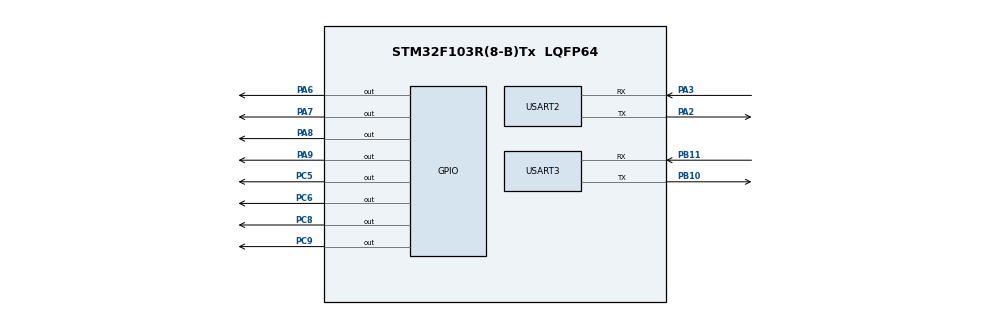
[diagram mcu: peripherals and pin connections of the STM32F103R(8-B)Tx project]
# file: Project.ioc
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FREERTOS.Queues01=CLI_Queue,16,uint16_t,0,Dynamic,NULL,NULL;Status_Queue,16,uint16_t,0,Dynamic,NULL,NULL;ATM_QUEUE_1,16,uint16_t,0,Dynamic,NULL,NULL;ATM_QUEUE_2,16,uint16_t,0,Dynamic,NULL,NULL
FREERTOS.Tasks01=defaultTask,24,128,Status_CLI_Task,Default,NULL,Dynamic,NULL,NULL;myTask02,25,128,RX_CLI_Task,Default,NULL,Dynamic,NULL,NULL;myTask03,21,128,stateControllerTask,Default,NULL,Dynamic,NULL,NULL
Mcu.Family=STM32F1
Mcu.Name=STM32F103R(8-B)Tx
Mcu.Package=LQFP64
NVIC.PriorityGroup=NVIC_PRIORITYGROUP_4
NVIC.TIM4_IRQn=true\:0\:0\:false\:false\:true\:false\:false\:true
NVIC.TimeBase=TIM4_IRQn
NVIC.TimeBaseIP=TIM4
PA13.Mode=Serial_Wire
PA13.Signal=SYS_JTMS-SWDIO
PA14.Mode=Serial_Wire
PA14.Signal=SYS_JTCK-SWCLK
PA2.Mode=Asynchronous
PA2.Signal=USART2_TX
PA3.Mode=Asynchronous
PA3.Signal=USART2_RX
PA6.Signal=GPIO_Output
PA7.Signal=GPIO_Output
PA8.Signal=GPIO_Output
PA9.Signal=GPIO_Output
PB10.Mode=Asynchronous
PB10.Signal=USART3_TX
PB11.Mode=Asynchronous
PB11.Signal=USART3_RX
PC14-OSC32_IN.Mode=LSE-External-Oscillator
PC14-OSC32_IN.Signal=RCC_OSC32_IN
PC15-OSC32_OUT.Mode=LSE-External-Oscillator
PC15-OSC32_OUT.Signal=RCC_OSC32_OUT
PC5.Signal=GPIO_Output
PC6.Signal=GPIO_Output
PC8.Signal=GPIO_Output
PC9.Signal=GPIO_Output
PD0-OSC_IN.Mode=HSE-External-Clock-Source
PD0-OSC_IN.Signal=RCC_OSC_IN
PD1-OSC_OUT.Mode=HSE-External-Clock-Source
PD1-OSC_OUT.Signal=RCC_OSC_OUT
ProjectManager.HeapSize=0x200
ProjectManager.StackSize=0x400
ProjectManager.TargetToolchain=STM32CubeIDE
RCC.APB1Freq_Value=8000000
RCC.APB2Freq_Value=8000000
USART2.VirtualMode=VM_ASYNC
USART3.VirtualMode=VM_ASYNC
VP_FREERTOS_VS_CMSIS_V2.Mode=CMSIS_V2
VP_SYS_VS_tim4.Mode=TIM4
board=custom

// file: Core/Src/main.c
/* USER CODE BEGIN Header */
/**
  ******************************************************************************
  * @file           : main.c
  * @brief          : Main program body
  ******************************************************************************
  * @attention
  *
  * <h2><center>&copy; Copyright (c) 2020 STMicroelectronics.
  * All rights reserved.</center></h2>
  *
  * This software component is licensed by ST under BSD 3-Clause license,
  * the "License"; You may not use this file except in compliance with the
  * License. You may obtain a copy of the License at:
  *                        opensource.org/licenses/BSD-3-Clause
  *
  ******************************************************************************
  */
/* USER CODE END Header */
#include "main.h"
#include "cmsis_os.h"

/* USER CODE BEGIN Includes */
#include "../../Mycode/CLI/CLI.h"
#include <stdio.h>
#include <stdlib.h>
#include <string.h>
#include "stdbool.h"
/* USER CODE END Includes */

UART_HandleTypeDef huart2;
UART_HandleTypeDef huart3;

/* Definitions for defaultTask */
osThreadId_t defaultTaskHandle;
const osThreadAttr_t defaultTask_attributes = {
  .name = "defaultTask",
  .priority = (osPriority_t) osPriorityNormal,
  .stack_size = 128 * 4
};
/* Definitions for myTask02 */
osThreadId_t myTask02Handle;
const osThreadAttr_t myTask02_attributes = {
  .name = "myTask02",
  .priority = (osPriority_t) osPriorityNormal1,
  .stack_size = 128 * 4
};
/* Definitions for myTask03 */
osThreadId_t myTask03Handle;
const osThreadAttr_t myTask03_attributes = {
  .name = "myTask03",
  .priority = (osPriority_t) osPriorityBelowNormal5,
  .stack_size = 128 * 4
};
/* Definitions for CLI_Queue */
osMessageQueueId_t CLI_QueueHandle;
const osMessageQueueAttr_t CLI_Queue_attributes = {
  .name = "CLI_Queue"
};
/* Definitions for Status_Queue */
osMessageQueueId_t Status_QueueHandle;
const osMessageQueueAttr_t Status_Queue_attributes = {
  .name = "Status_Queue"
};

void SystemClock_Config(void);
static void MX_GPIO_Init(void);
static void MX_USART2_UART_Init(void);
static void MX_USART3_UART_Init(void);
void Status_CLI_Task(void *argument);
void RX_CLI_Task(void *argument);
void stateControllerTask(void *argument);

int main(void)
{

  /* MCU Configuration--------------------------------------------------------*/

  /* Reset of all peripherals, Initializes the Flash interface and the Systick. */
  HAL_Init();

  /* Configure the system clock */
  SystemClock_Config();

  /* Initialize all configured peripherals */
  MX_GPIO_Init();
  MX_USART2_UART_Init();
  MX_USART3_UART_Init();
  /* USER CODE BEGIN 2 */
  clean_screen;
  transmit;
  cursor0_0
  transmit;
  scroll_window
  transmit;
  cursor10_0
  transmit;
  strcpy((char*)cliBufferTX, "Welcome!\r\n");
  transmit;
  /* USER CODE END 2 */

  /* Init scheduler */
  osKernelInitialize();

  /* Create the queue(s) */
  /* creation of CLI_Queue */
  CLI_QueueHandle = osMessageQueueNew (16, sizeof(uint16_t), &CLI_Queue_attributes);

  /* creation of Status_Queue */
  Status_QueueHandle = osMessageQueueNew (16, sizeof(uint16_t), &Status_Queue_attributes);

  /* Create the thread(s) */
  /* creation of defaultTask */
  defaultTaskHandle = osThreadNew(Status_CLI_Task, NULL, &defaultTask_attributes);

  /* creation of myTask02 */
  myTask02Handle = osThreadNew(RX_CLI_Task, NULL, &myTask02_attributes);

  /* creation of myTask03 */
  myTask03Handle = osThreadNew(stateControllerTask, NULL, &myTask03_attributes);

  /* Start scheduler */
  osKernelStart();

  /* We should never get here as control is now taken by the scheduler */
  /* Infinite loop */
  while (1)
  {

  }
}

void SystemClock_Config(void)
{
  RCC_OscInitTypeDef RCC_OscInitStruct = {0};
  RCC_ClkInitTypeDef RCC_ClkInitStruct = {0};

  /** Initializes the RCC Oscillators according to the specified parameters
  * in the RCC_OscInitTypeDef structure.
  */
  RCC_OscInitStruct.OscillatorType = RCC_OSCILLATORTYPE_HSI;
  RCC_OscInitStruct.HSIState = RCC_HSI_ON;
  RCC_OscInitStruct.HSICalibrationValue = RCC_HSICALIBRATION_DEFAULT;
  RCC_OscInitStruct.PLL.PLLState = RCC_PLL_NONE;
  if (HAL_RCC_OscConfig(&RCC_OscInitStruct) != HAL_OK)
  {
    Error_Handler();
  }
  /** Initializes the CPU, AHB and APB buses clocks
  */
  RCC_ClkInitStruct.ClockType = RCC_CLOCKTYPE_HCLK|RCC_CLOCKTYPE_SYSCLK
                              |RCC_CLOCKTYPE_PCLK1|RCC_CLOCKTYPE_PCLK2;
  RCC_ClkInitStruct.SYSCLKSource = RCC_SYSCLKSOURCE_HSI;
  RCC_ClkInitStruct.AHBCLKDivider = RCC_SYSCLK_DIV1;
  RCC_ClkInitStruct.APB1CLKDivider = RCC_HCLK_DIV1;
  RCC_ClkInitStruct.APB2CLKDivider = RCC_HCLK_DIV1;

  if (HAL_RCC_ClockConfig(&RCC_ClkInitStruct, FLASH_LATENCY_0) != HAL_OK)
  {
    Error_Handler();
  }
}

static void MX_USART2_UART_Init(void)
{

  huart2.Instance = USART2;
  huart2.Init.BaudRate = 115200;
  huart2.Init.WordLength = UART_WORDLENGTH_8B;
  huart2.Init.StopBits = UART_STOPBITS_1;
  huart2.Init.Parity = UART_PARITY_NONE;
  huart2.Init.Mode = UART_MODE_TX_RX;
  huart2.Init.HwFlowCtl = UART_HWCONTROL_NONE;
  huart2.Init.OverSampling = UART_OVERSAMPLING_16;
  if (HAL_UART_Init(&huart2) != HAL_OK)
  {
    Error_Handler();
  }

}

static void MX_USART3_UART_Init(void)
{

  huart3.Instance = USART3;
  huart3.Init.BaudRate = 115200;
  huart3.Init.WordLength = UART_WORDLENGTH_8B;
  huart3.Init.StopBits = UART_STOPBITS_1;
  huart3.Init.Parity = UART_PARITY_NONE;
  huart3.Init.Mode = UART_MODE_TX_RX;
  huart3.Init.HwFlowCtl = UART_HWCONTROL_NONE;
  huart3.Init.OverSampling = UART_OVERSAMPLING_16;
  if (HAL_UART_Init(&huart3) != HAL_OK)
  {
    Error_Handler();
  }

}

static void MX_GPIO_Init(void)
{
  GPIO_InitTypeDef GPIO_InitStruct = {0};

  /* GPIO Ports Clock Enable */
  __HAL_RCC_GPIOC_CLK_ENABLE();
  __HAL_RCC_GPIOD_CLK_ENABLE();
  __HAL_RCC_GPIOA_CLK_ENABLE();
  __HAL_RCC_GPIOB_CLK_ENABLE();

  /*Configure GPIO pin Output Level */
  HAL_GPIO_WritePin(GPIOA, GPIO_PIN_6|GPIO_PIN_7|GPIO_PIN_8|GPIO_PIN_9, GPIO_PIN_RESET);

  /*Configure GPIO pin Output Level */
  HAL_GPIO_WritePin(GPIOC, GPIO_PIN_5|GPIO_PIN_6|GPIO_PIN_8|GPIO_PIN_9, GPIO_PIN_RESET);

  /*Configure GPIO pins : PA6 PA7 PA8 PA9 */
  GPIO_InitStruct.Pin = GPIO_PIN_6|GPIO_PIN_7|GPIO_PIN_8|GPIO_PIN_9;
  GPIO_InitStruct.Mode = GPIO_MODE_OUTPUT_PP;
  GPIO_InitStruct.Pull = GPIO_NOPULL;
  GPIO_InitStruct.Speed = GPIO_SPEED_FREQ_LOW;
  HAL_GPIO_Init(GPIOA, &GPIO_InitStruct);

  /*Configure GPIO pins : PC5 PC6 PC8 PC9 */
  GPIO_InitStruct.Pin = GPIO_PIN_5|GPIO_PIN_6|GPIO_PIN_8|GPIO_PIN_9;
  GPIO_InitStruct.Mode = GPIO_MODE_OUTPUT_PP;
  GPIO_InitStruct.Pull = GPIO_NOPULL;
  GPIO_InitStruct.Speed = GPIO_SPEED_FREQ_LOW;
  HAL_GPIO_Init(GPIOC, &GPIO_InitStruct);

}

/* USER CODE BEGIN 4 */

void printStringBlocking(const char* message)
{
    int i = 0;
    HAL_StatusTypeDef	st;

    //Have to wait for the last transmission to go.
    while (huart2.gState == HAL_UART_STATE_BUSY_TX) {}

    for (const char* p = message; *p; ++p) {
        cliBufferTX[i] = *p;
        i++;
    }
    st = HAL_UART_Transmit(&huart2, cliBufferTX, i, 1000);
    if (st != HAL_OK)
    {
        Error_Handler();
    }

}
/* USER CODE END 4 */

// It is the status cli task, it receive the current running mode and atm value, then shows it on the screen
void Status_CLI_Task(void *argument)
{
  /* USER CODE BEGIN 5 */
	 uint16_t statusMessage;	//take the message from queue
	 uint16_t message = 102;	//status message, 102 is mean the begin mode is FSM
	 osStatus_t status;			// check if queue get is OK
	 uint16_t x = 1;			//transfer the atm value
	 int atm_value;				// change uint16_x to int, and I will change the int to string
	 uint8_t period[3];			// save the atm_value transfered string, and it will be show on the putty.
  /* Infinite loop */
  for(;;)
  {
	  {
		  status = osMessageQueueGet(Status_QueueHandle, &statusMessage, NULL, 0U);
		        if (status == osOK)
		        {
		         if(statusMessage == 101 || statusMessage == 102)//if received message is for status change
		         {
		        	message = statusMessage;	// transfer data from queue to message
		        	 if (message == 101)		// scm mode renew
		        			        {
		        		 	 	 	 atm_value = x;
		        		 	 	 	 itoa(atm_value,period,10);
		        		 	 	 	save_cursor;
		        		 	 	 	transmit;
		        			  		  cursor0_0;
		        			  		  transmit;
		        			  		clean_line;
		        			  		  transmit;
		        			  		  strcpy(( char*)cliBufferTX, "scm mode. ");
		        			    	  HAL_UART_Transmit(&huart2, cliBufferTX, strlen((char*)cliBufferTX),1000);
		        			    	  HAL_UART_Transmit(&huart2, period, strlen((char*)period),1000);
		        			  		  strcpy(( char*)cliBufferTX, " is the atm value");
		        			    	  HAL_UART_Transmit(&huart2, cliBufferTX, strlen((char*)cliBufferTX),1000);
		        			    	  go_to_saved_cursor_point;
		        			    	  transmit;

		        			        }
		        	 else if (message == 102)// fsm mode renew
		        			       		  {
    		 	 	 	 	 	 	 	 atm_value = x;
    		 	 	 	 	 	 	 	 itoa(atm_value,period,10);
		        		 	 	 	 	save_cursor;
		        		 	 	 	 	transmit;
		        				  		  cursor0_0;
		        				  		  transmit;
		        				  		clean_line;
		        				  		  transmit;
		        				  		  strcpy(( char*)cliBufferTX, "fsm mode. ");
		        				    	  HAL_UART_Transmit(&huart2, cliBufferTX, strlen((char*)cliBufferTX),1000);
			        			    	  HAL_UART_Transmit(&huart2, period, strlen((char*)period),1000);
			        			  		  strcpy(( char*)cliBufferTX, " is the atm value");
			        			    	  HAL_UART_Transmit(&huart2, cliBufferTX, strlen((char*)cliBufferTX),1000);
			        			    	  go_to_saved_cursor_point;
		        				    	  transmit;
		        			       		  }
		         }
		         else	// if the received message is for atm X change
		         {
		        	 x = statusMessage;
		        	 if (message == 101)	// current scm mode
		        			        {
		        		 	 	 	 atm_value = x;
		        		 	 	 	 itoa(atm_value,period,10);
		        		 	 	 	save_cursor;
		        		 	 	 	transmit;
		        			  		  cursor0_0;
		        			  		  transmit;
		        			  		clean_line;
		        			  		  transmit;
		        			  		  strcpy(( char*)cliBufferTX, "scm mode. ");
		        			    	  HAL_UART_Transmit(&huart2, cliBufferTX, strlen((char*)cliBufferTX),1000);
		        			    	  HAL_UART_Transmit(&huart2, period, strlen((char*)period),1000);
		        			  		  strcpy(( char*)cliBufferTX, " is the atm value");
		        			    	  HAL_UART_Transmit(&huart2, cliBufferTX, strlen((char*)cliBufferTX),1000);
		        			    	  go_to_saved_cursor_point;
		        			    	  transmit;

		        			        }
		        	 else if (message == 102)//current fsm mode
		        			       		  {
    		 	 	 	 	 	 	 	 atm_value = x;
    		 	 	 	 	 	 	 	 itoa(atm_value,period,10);
		        		 	 	 	 	save_cursor;
		        		 	 	 	 	transmit;
		        				  		  cursor0_0;
		        				  		  transmit;
		        				  		clean_line;
		        				  		  transmit;
		        				  		  strcpy(( char*)cliBufferTX, "fsm mode. ");
		        				    	  HAL_UART_Transmit(&huart2, cliBufferTX, strlen((char*)cliBufferTX),1000);
			        			    	  HAL_UART_Transmit(&huart2, period, strlen((char*)period),1000);
			        			  		  strcpy(( char*)cliBufferTX, " is the atm value");
			        			    	  HAL_UART_Transmit(&huart2, cliBufferTX, strlen((char*)cliBufferTX),1000);
			        			    	  go_to_saved_cursor_point;
		        				    	  transmit;
		        			       		  }
		         }
		        }

	  }
    osDelay(100);
  }
  /* USER CODE END 5 */
}

void RX_CLI_Task(void *argument) // receive message from host, and send message to control part
{
  /* USER CODE BEGIN RX_CLI_Task */
	uint16_t cliMessage;
	int8_t i=0;				//the local position for cliBuffer
	uint8_t *p;
	uint8_t cliBufferTX[200];
	 uint16_t x = 1;
  /* Infinite loop */
  for(;;)
  {
	  if((HAL_UART_Receive(&huart2,cliBufferRX, 1,300) == HAL_OK))
	  {
		  cliBufferTX[i] = cliBufferRX[0];
		  if( cliBufferTX[i]=='\r')	//	if enter
		 		  {
		 			cliBufferTX[i]='\0';
		 			cliBufferRX[0]='\r';
		 			cliBufferRX[1]='\n';
		 			HAL_UART_Transmit(&huart2,cliBufferRX,2,1000);
					if(strcmp(cliBufferTX,"help")==0)	//execute help command
					  {
						  cursor0_0;
						  transmit;
						  clean_screen;
						  transmit;
				  	  	  strcpy(( char*)cliBufferTX, "enter scm,fsm,or atm x");
				  	  	  HAL_UART_Transmit(&huart2, cliBufferTX, strlen((char*)cliBufferTX),1000);
				  	  	  cursor10_0;
				  	  	  transmit;
					  }
					else if(strcmp(cliBufferTX,"scm")==0 || strcmp(cliBufferTX,"SCM")==0)//execute scm command
					  {
						cliMessage = 101;
						 if (osMessageQueuePut(CLI_QueueHandle, &cliMessage, 1U, 0U) != osOK)
								 		                {
								 		                    Error_Handler();
								 		                }
					  }
					else if(strcmp(cliBufferTX,"fsm")==0 || strcmp(cliBufferTX,"FSM")==0)//execute fsm command
					  {
						cliMessage = 102;
						 if (osMessageQueuePut(CLI_QueueHandle, &cliMessage, 1U, 0U) != osOK)
								 		                {
								 		                    Error_Handler();
								 		                }
					  }
					else if((cliBufferTX[0]=='a' && cliBufferTX[1] == 't' && cliBufferTX[2] == 'm' && cliBufferTX[3] == ' ') || (cliBufferTX[0]=='A' && cliBufferTX[1] == 'T' && cliBufferTX[2] == 'M' && cliBufferTX[3] == ' '))
					  {//execute ATM x command
						cliMessage = 3;
						uint8_t num[3];
						num[0] = cliBufferTX[4];
						num[1] = cliBufferTX[5];
						num[2] = cliBufferTX[6];

						x = atoi(num);
						if ((x >= 1) && (x <= 100))//make sure x is from 1 to 100
						{
							cliMessage = x;
				 			if (osMessageQueuePut(CLI_QueueHandle, &cliMessage, 1U, 0U) != osOK)
				 											 		                {
				 											 		                    Error_Handler();
				 											 		                }
						}
						else {
							invalid_command;               //execute invalid command (for wrong number x)
							HAL_UART_Transmit(&huart2, cliBufferRX, strlen((char*)cliBufferRX),1000);	//transfer invalid message
							transmit;
				 			cliBufferTX[i]='\0';
				 			cliBufferRX[0]='\r';
				 			cliBufferRX[1]='\n';
				 			HAL_UART_Transmit(&huart2,cliBufferRX,2,1000);
							}
					  }

					else
											{
											invalid_command;//execute invalid command
											HAL_UART_Transmit(&huart2, cliBufferRX, strlen((char*)cliBufferRX),1000);//transfer invalid message
											transmit;
								 			cliBufferTX[i]='\0';
								 			cliBufferRX[0]='\r';
								 			cliBufferRX[1]='\n';
								 			HAL_UART_Transmit(&huart2,cliBufferRX,2,1000);
											}
		 		    i=0;
		 		  }
		  else if( cliBufferTX[i]=='\177') // if back
		  			{
		  			  p=&cliBufferTX[i];
		  			  HAL_UART_Transmit(&huart2,p,1,1000);
		  			  i--;
		  			  if(i<0) i=0;
		  			}
		  else if( cliBufferTX[i]==' ')
		  		    {
		  			   p=&cliBufferTX[i];
		  			   HAL_UART_Transmit(&huart2,p,1,1000);
		  			   i++;
		  		    }
		  else
		 			{
			  	  	   p=&cliBufferTX[i];
		 			   HAL_UART_Transmit(&huart2,p,1,1000);
		 			   i++;
		 			}
	  }
    osDelay(1);
  }
  /* USER CODE END RX_CLI_Task */
}

void stateControllerTask(void *argument)
{
	  uint16_t cliMessage;
		  uint16_t statusMessage = 102;
		  osStatus_t status;
		  int sequence_fsm = 0;//the time sequence the fsm mode at
		  int sequence_scm = 0;//the time sequence the scm mode at
		  uint16_t x = 1;

		    //Send a status message straight away

		  /* Infinite loop */
	  for(;;)
	  {
		  status = osMessageQueueGet(CLI_QueueHandle, &cliMessage, 1U, 0U);
		  if (status == osOK)
		  {
			  if(cliMessage == 101 || cliMessage == 102)
			  {
				  statusMessage = cliMessage;
				  if (osMessageQueuePut(Status_QueueHandle, &statusMessage, 1U, 0U) != osOK)
				  		    {
				  		        Error_Handler();
				  		    }
			  }
			  else
			  {
				  x = cliMessage;
				  if (osMessageQueuePut(Status_QueueHandle, &x, 1U, 0U) != osOK)
				  				  		    {
				  				  		        Error_Handler();
				  				  		    }
			  }

		  }

		  	  if (statusMessage == 101)	// 0S - 70.5S
		  	  {
		  		  if (sequence_scm == 0)
		  		  {
		  			P_RED_CLOSE;
		  			P_YELLOW_CLOSE;
		  			P_GREEN_OPEN;
		  			P_BLUE_OPEN;
		  			S_RED_OPEN;
		  			S_YELLOW_CLOSE;
		  			S_GREEN_CLOSE;
		  			S_BLUE_CLOSE;
		  			osDelay(70500/x);
		  			sequence_scm++;

		  		  }
		  		  else if (sequence_scm == 1) // 70.5S - 83.5S
		  		{
		  			for(int Primary_WW = 0; Primary_WW<13; Primary_WW++)//blue led flash in 1HZ for 13s
		  			{
		  				P_BLUE_TOG;
						osDelay(1000/x);
		  			}
		  			sequence_scm++;
		  		}
		  		  else if (sequence_scm == 2) //83.5s - 87s
		  		{
		  			P_BLUE_CLOSE;
		  			P_YELLOW_OPEN;
		  			P_GREEN_CLOSE
		  			osDelay(3500/x);
		  			sequence_scm++;
		  		}
		  		  else if (sequence_scm == 3) //87s - 93s
		  		{
		  			P_RED_OPEN;
		  			P_YELLOW_CLOSE;
		  			osDelay(6000/x);
		  			sequence_scm++;
		  		}
		  		  else if (sequence_scm == 4)//93s - 113s
		  		{
		  			S_RED_CLOSE;
		  			S_GREEN_OPEN;
		  			S_BLUE_OPEN;
		  			osDelay(20000/x);
		  			sequence_scm++;
		  		}
		  		  else if (sequence_scm == 5)//113s - 121s
		  		{
		  			for(int Secondary_WW = 0; Secondary_WW<8; Secondary_WW++)//blue led flash in 1HZ for 8s
		  			{
		  			S_BLUE_TOG;
		  			osDelay(1000/x);
		  			}
		  			sequence_scm++;
		  		}
		  		  else if (sequence_scm == 6)//121s-124.5s
		  		{
		  			sequence_scm=0;
		  			S_GREEN_CLOSE;
		  			S_YELLOW_OPEN;
		  			for(int Secondary_WW = 0; Secondary_WW<3; Secondary_WW++)
		  			{
		  			S_BLUE_TOG;
		  			osDelay(1000/x);
		  			}

		  		}
		  	  }
		  	  else  if (statusMessage == 102)	//fsm mode
			  {
				  if (sequence_fsm == 0)//1.5s red led on
				  {
					  P_YELLOW_CLOSE;
					  P_GREEN_CLOSE;
					  P_BLUE_CLOSE;
					  S_YELLOW_CLOSE;
					  S_GREEN_CLOSE;
					  S_BLUE_CLOSE;
					  P_RED_OPEN;
					  S_RED_OPEN;
					  osDelay(1500/x);
					  sequence_fsm++;
				  }
				  if(sequence_fsm == 1)//0.5s red led off.
				  {
					  P_RED_TOG;
					  S_RED_TOG;
					  osDelay(500/x);
					  sequence_fsm = 0;
				  }

			  }

	  }
}

void HAL_TIM_PeriodElapsedCallback(TIM_HandleTypeDef *htim)
{
  if (htim->Instance == TIM4) {
    HAL_IncTick();
  }
}

void Error_Handler(void)
{
}

/************************ (C) COPYRIGHT STMicroelectronics *****END OF FILE****/
